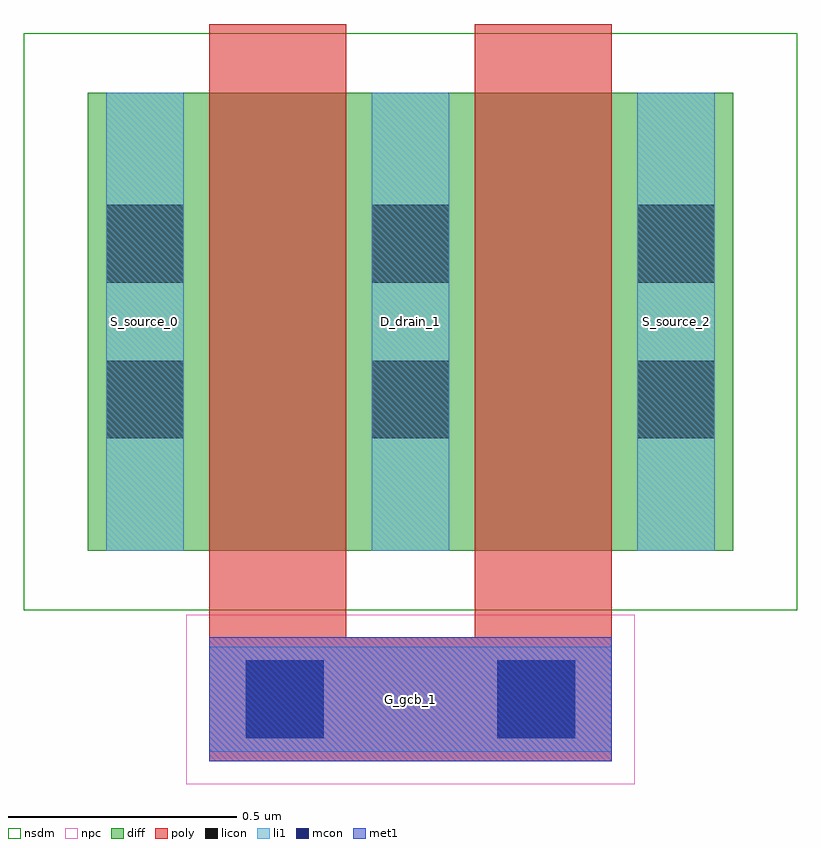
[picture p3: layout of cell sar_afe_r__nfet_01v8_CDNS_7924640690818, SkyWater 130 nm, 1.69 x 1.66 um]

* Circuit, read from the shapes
.subckt sar_afe_r__nfet_01v8_CDNS_7924640690818 D_drain_1 G_gcb_1 S_source_0 S_source_2
XM1 D_drain_1 G_gcb_1 S_source_0 VSUBS sky130_fd_pr__nfet_01v8 w=1 l=0.3
XM2 S_source_2 G_gcb_1 D_drain_1 VSUBS sky130_fd_pr__nfet_01v8 w=1 l=0.3
.ends

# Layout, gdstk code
import gdstk
lib = gdstk.Library(unit=1e-6, precision=1e-09)
def R(c, l, rs):  # rectangles x0, y0, x1, y1
    for r in rs: c.add(gdstk.rectangle(r[:2], r[2:], *l))
def A(c, l, x, y, w, h, nx, ny, dx, dy):  # array of equal rectangles
    R(c, l, [(x+i*dx, y+j*dy, x+i*dx+w, y+j*dy+h) for i in range(nx) for j in range(ny)])
diff = (65, 20)
poly = (66, 20)
licon = (66, 44)
li1 = (67, 20)
mcon = (67, 44)
met1 = (68, 20)
nsdm = (93, 44)
npc = (95, 20)

sar_afe_r__nfet_01v8_cdn = lib.new_cell('sar_afe_r__nfet_01v8_CDNS_7924640690818')
R(sar_afe_r__nfet_01v8_cdn, diff, [(-0.265,0,0,1), (0,0,0.3,1), (0.3,0,0.58,1), (0.58,0,0.88,1), (0.88,0,1.145,1)])
R(sar_afe_r__nfet_01v8_cdn, poly, [(0,-0.46,0.88,-0.19), (0,-0.19,0.3,0), (0.58,-0.19,0.88,0), (0,0,0.3,1), (0.58,0,0.88,1), (0,1,0.3,1.15), (0.58,1,0.88,1.15)])
A(sar_afe_r__nfet_01v8_cdn, licon, -0.225, 0.245, 0.17, 0.17, 3, 2, 0.58, 0.34)
R(sar_afe_r__nfet_01v8_cdn, licon, [(0.08,-0.41,0.25,-0.24), (0.63,-0.41,0.8,-0.24)])
A(sar_afe_r__nfet_01v8_cdn, li1, -0.225, 0, 0.17, 1, 3, 1, 0.58, 0)
R(sar_afe_r__nfet_01v8_cdn, li1, [(0,-0.44,0.88,-0.21)])
R(sar_afe_r__nfet_01v8_cdn, mcon, [(0.08,-0.41,0.25,-0.24), (0.63,-0.41,0.8,-0.24)])
R(sar_afe_r__nfet_01v8_cdn, met1, [(0,-0.46,0.88,-0.19)])
R(sar_afe_r__nfet_01v8_cdn, nsdm, [(-0.405,-0.13,1.285,1.13)])
R(sar_afe_r__nfet_01v8_cdn, npc, [(-0.05,-0.51,0.93,-0.14)])
sar_afe_r__nfet_01v8_cdn.add(gdstk.Label('G_gcb_1', (0.44,-0.325), layer=68, texttype=20))
sar_afe_r__nfet_01v8_cdn.add(gdstk.Label('G_gcb_1', (0.44,-0.325), layer=67, texttype=20))
sar_afe_r__nfet_01v8_cdn.add(gdstk.Label('S_source_2', (1.02,0.5), layer=67, texttype=20))
sar_afe_r__nfet_01v8_cdn.add(gdstk.Label('D_drain_1', (0.44,0.5), layer=67, texttype=20))
sar_afe_r__nfet_01v8_cdn.add(gdstk.Label('S_source_0', (-0.14,0.5), layer=67, texttype=20))
sar_afe_r__nfet_01v8_cdn.add(gdstk.Label('S_source_2', (1.012,0.5), layer=65, texttype=20))
sar_afe_r__nfet_01v8_cdn.add(gdstk.Label('S_source_0', (-0.132,0.5), layer=65, texttype=20))

lib.write_gds('sar_afe_r__nfet_01v8_CDNS_7924640690818.gds')
